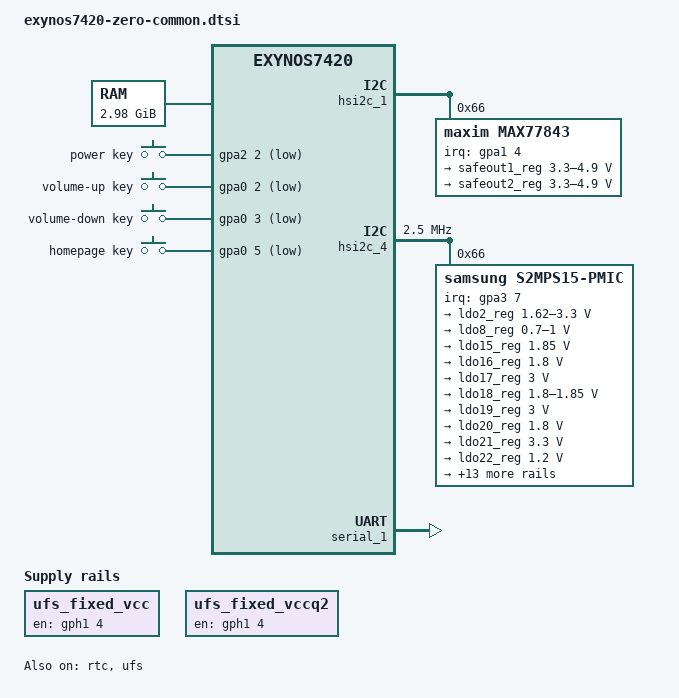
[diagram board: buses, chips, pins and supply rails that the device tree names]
// SPDX-License-Identifier: GPL-2.0

/dts-v1/;
#include <dt-bindings/clock/samsung,s2mps11.h>
#include <dt-bindings/gpio/gpio.h>
#include <dt-bindings/input/input.h>
#include <dt-bindings/interrupt-controller/irq.h>
#include "exynos7420.dtsi"

/ {
	aliases {
		serial0 = &serial_1;
	};

	chosen {
		bootargs = "ignore_loglevel clk_ignore_unused nokaslr earlycon=exynos4210,0x14c20000 console=ttySAC0,115200 root=/dev/sda15 rw";
		stdout-path = &serial_1;
	};

	memory@40000000 {
		device_type = "memory";
		reg = <0x0 0x40000000 0x0 0xBE800000>;
	};

	reserved-memory {
		#address-cells = <2>;
		#size-cells = <2>;
		ranges;

		secure-firmware@FF980000 {
			no-map;
			reg = <0x0 0xFF980000 0x0 0x00680000>;
		};
	};

	gpio-keys {
		compatible = "gpio-keys";

		power-key {
			gpios = <&gpa2 2 GPIO_ACTIVE_LOW>;
			linux,code = <KEY_POWER>;
			label = "power key";
			debounce-interval = <10>;
		};

		volume-up-key {
			gpios = <&gpa0 2 GPIO_ACTIVE_LOW>;
			linux,code = <KEY_VOLUMEUP>;
			label = "volume-up key";
			debounce-interval = <10>;
		};

		volume-down-key {
			gpios = <&gpa0 3 GPIO_ACTIVE_LOW>;
			linux,code = <KEY_VOLUMEDOWN>;
			label = "volume-down key";
			debounce-interval = <10>;
		};

		homepage-key {
			gpios = <&gpa0 5 GPIO_ACTIVE_LOW>;
			linux,code = <KEY_MENU>;
			label = "homepage key";
			debounce-interval = <10>;
		};
	};

	ufs_fixed_vcc: fixedregulator@0 {
		compatible = "regulator-fixed";
		regulator-name = "VDD_UFS_2P95";
		gpio = <&gph1 4 GPIO_ACTIVE_HIGH>;
		enable-active-high;
		regulator-boot-on;
		regulator-always-on;
	};

	ufs_fixed_vccq2: fixedregulator@2 {
		compatible = "regulator-fixed";
		regulator-name = "VDD_UFS_1P8";
		gpio = <&gph1 4 GPIO_ACTIVE_HIGH>;
		enable-active-high;
		startup-delay-us = <2000>;
		endup-delay-us = <2000>;
		regulator-boot-on;
		regulator-always-on;
	};
};

&cpu_apollo0 {
	cpu-supply = <&buck3_reg>;
};

&cpu_atlas0 {
	cpu-supply = <&buck2_reg>;
};

&fin_pll {
	clock-frequency = <24000000>;
};

&hsi2c_1 {
	status = "okay";

	max77843@66 {
		compatible = "maxim,max77843";
		interrupt-parent = <&gpa1>;
		interrupts = <4 IRQ_TYPE_EDGE_RISING>;
		reg = <0x66>;

		muic: max77843-muic {
			compatible = "maxim,max77843-muic";
		};

		regulators {
			compatible = "maxim,max77843-regulator";
			safeout1_reg: SAFEOUT1 {
				regulator-name = "SAFEOUT1";
				regulator-min-microvolt = <3300000>;
				regulator-max-microvolt = <4900000>;
				regulator-boot-on;
			};

			safeout2_reg: SAFEOUT2 {
				regulator-name = "SAFEOUT2";
				regulator-min-microvolt = <3300000>;
				regulator-max-microvolt = <4900000>;
			};
		};

		haptic: max77843-haptic {
			compatible = "maxim,max77843-haptic";
			haptic-supply = <&ldo17_reg>;
			pwms = <&pwm 1 33670 0>;
			pwm-names = "haptic";
		};
	};
};

&hsi2c_4 {
	status = "okay";
	clock-frequency = <2500000>;

	s2mps15-pmic@66 {
		compatible = "samsung,s2mps15-pmic";
		interrupt-parent = <&gpa3>;
		interrupts = <7 IRQ_TYPE_NONE>;
		reg = <0x66>;
		samsung,s2mps11-wrstbi-ground;

		s2mps13_osc: clocks {
			compatible = "samsung,s2mps13-clk";
			#clock-cells = <1>;
			clock-output-names = "s2mps13_ap", "s2mps13_cp",
				"s2mps13_bt";
		};

		regulators {
			ldo2_reg: LDO2 {
				regulator-name = "VDDQ_MMC2_2P8_AP";
				regulator-min-microvolt = <1620000>;
				regulator-max-microvolt = <3300000>;
				regulator-ramp-delay = <12000>;
				regulator-boot-on;
			};

			ldo8_reg: LDO8 {
				regulator-name = "VDD_INT_M_AP";
				regulator-min-microvolt = <700000>;
				regulator-max-microvolt = <1000000>;
				regulator-always-on;
			};

			ldo15_reg: LDO15 {
				regulator-name = "VDD_TSP_1P8";
				regulator-min-microvolt = <1850000>;
				regulator-max-microvolt = <1850000>;
			};

			ldo16_reg: LDO16 {
				regulator-name = "VCC_1P8_CODEC_PMIC";
				regulator-min-microvolt = <1800000>;
				regulator-max-microvolt = <1800000>;
			};

			ldo17_reg: LDO17 {
				regulator-name = "VCC_VIB_3P0";
				regulator-min-microvolt = <3000000>;
				regulator-max-microvolt = <3000000>;
			};

			ldo18_reg: LDO18 {
				regulator-name = "VDD_1P8_HRM";
				regulator-min-microvolt = <1800000>;
				regulator-max-microvolt = <1850000>;
			};

			ldo19_reg: LDO19 {
				regulator-name = "MST_LEVEL_3.0V";
				regulator-min-microvolt = <3000000>;
				regulator-max-microvolt = <3000000>;
			};

			ldo20_reg: LDO20 {
				regulator-name = "VDD20_1P8_AP";
				regulator-min-microvolt = <1800000>;
				regulator-max-microvolt = <1800000>;
			};

			ldo21_reg: LDO21 {
				regulator-name = "VDD_TOUCH_3P3";
				regulator-min-microvolt = <3300000>;
				regulator-max-microvolt = <3300000>;
			};

			ldo22_reg: LDO22 {
				regulator-name = "VDD22_1P2_AP";
				regulator-min-microvolt = <1200000>;
				regulator-max-microvolt = <1200000>;
			};

			ldo23_reg: LDO23 {
				regulator-name = "VDD_ESE_1P8";
				regulator-min-microvolt = <1800000>;
				regulator-max-microvolt = <1800000>;
			};

			ldo24_reg: LDO24 {
				regulator-name = "VDD_3P3_HRM";
				regulator-min-microvolt = <3300000>;
				regulator-max-microvolt = <3350000>;
			};

			ldo25_reg: LDO25 {
				regulator-name = "VDD_IRLED_PROXY_3P3";
				regulator-min-microvolt = <3300000>;
				regulator-max-microvolt = <3300000>;
			};

			ldo26_reg: LDO26 {
				regulator-name = "VDD_CODEC_1P2";
				regulator-min-microvolt = <1200000>;
				regulator-max-microvolt = <1200000>;
			};

			buck1_reg: BUCK1 {
				regulator-name = "VDD_MIF_0P9";
				regulator-min-microvolt = <500000>;
				regulator-max-microvolt = <1000000>;
				regulator-always-on;
				regulator-boot-on;
				regulator-ramp-delay = <12000>;
			};

			buck2_reg: BUCK2 {
				regulator-name = "VDD_ATLAS_AP";
				regulator-min-microvolt = <500000>;
				regulator-max-microvolt = <1300000>;
				regulator-always-on;
				regulator-boot-on;
				regulator-ramp-delay = <12000>;
			};

			buck3_reg: BUCK3 {
				regulator-name = "VDD_APOLLO_AP";
				regulator-min-microvolt = <500000>;
				regulator-max-microvolt = <1200000>;
				regulator-always-on;
				regulator-boot-on;
				regulator-ramp-delay = <12000>;
			};

			buck4_reg: BUCK4 {
				regulator-name = "VDD_INT_AP";
				regulator-min-microvolt = <500000>;
				regulator-max-microvolt = <1000000>;
				regulator-always-on;
				regulator-boot-on;
				regulator-ramp-delay = <12000>;
			};

			buck5_reg: BUCK5 {
				regulator-name = "VDD_DISP_CAM0_AP";
				regulator-min-microvolt = <500000>;
				regulator-max-microvolt = <1000000>;
				regulator-always-on;
				regulator-boot-on;
				regulator-ramp-delay = <12000>;
			};

			buck6_reg: BUCK6 {
				regulator-name = "VDD_G3D_0P9";
				regulator-min-microvolt = <500000>;
				regulator-max-microvolt = <1000000>;
				regulator-always-on;
				regulator-boot-on;
				regulator-ramp-delay = <12000>;
			};

			buck8_reg: BUCK8 {
				regulator-name = "VDD_1P3_LLDO";
				regulator-min-microvolt = <1000000>;
				regulator-max-microvolt = <1500000>;
				regulator-always-on;
				regulator-ramp-delay = <12000>;
			};

			buck9_reg: BUCK9 {
				regulator-name = "VDD_2P0_MLDO";
				regulator-min-microvolt = <1800000>;
				regulator-max-microvolt = <2100000>;
				regulator-always-on;
				regulator-ramp-delay = <12000>;
			};

			buck10_reg: BUCK10 {
				regulator-name = "VDD_UFS_1P2";
				regulator-min-microvolt = <1200000>;
				regulator-max-microvolt = <1200000>;
				regulator-always-on;
				regulator-ramp-delay = <25000>;
				regulator-enable-ramp-delay = <250>;
			};
		};
	};
};

&rtc {
	status = "okay";
	clocks = <&clock_ccore PCLK_RTC>, <&s2mps13_osc S2MPS11_CLK_AP>;
	clock-names = "rtc", "rtc_src";
};

&serial_1 {
	status = "okay";
};

&timer {
	arm,cpu-registers-not-fw-configured;
	clock-frequency = <24000000>;
};

&ufs {
	status = "okay";

	vcc-supply = <&ufs_fixed_vcc>;
	vccq-supply = <&buck10_reg>;
	vccq2-supply = <&ufs_fixed_vccq2>;
};
